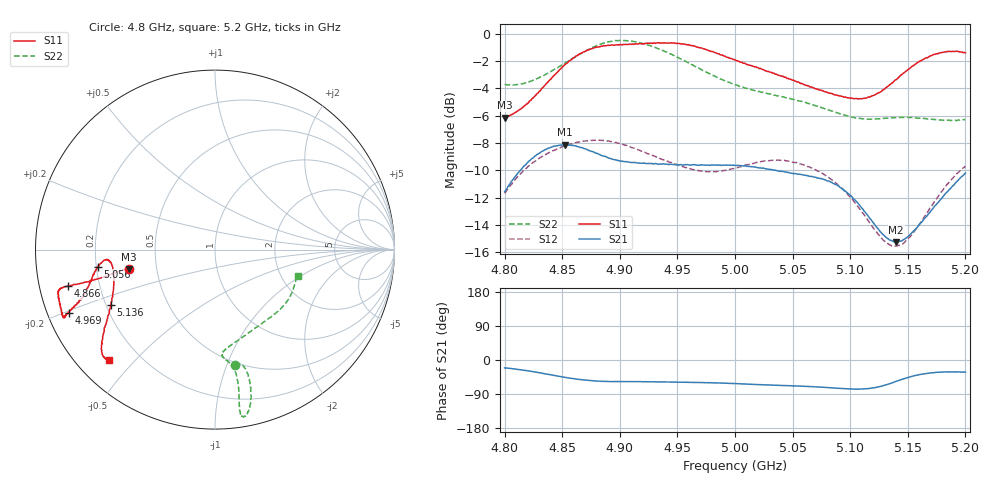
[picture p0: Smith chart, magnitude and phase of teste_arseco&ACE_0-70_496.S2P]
! Network Analyzer HP8722D
! Hewlett-Packard
! Data name: Linha & Wilkinson
! Saver's name: Rodrigo Anjos
! Comments: Teste da utilização de aquisição
! continua pelo VNA HP8722D
! Time and date: 8/5/2025 16:53
!  Frequency  S11  S21  S12  S22
# HZ  S  MA R 50
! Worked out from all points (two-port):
!   401 points, 4.8 GHz to 5.2 GHz, reference 50 ohm
!   highest |S21| = -8.12 dB at 4.852 GHz (marker M1); lowest = -15.2 dB at 5.14 GHz (marker M2)
!   |S21| within 3 dB of the highest: 4.803 GHz to 5.089 GHz (285.8 MHz wide, 5.78 % of centre); 5.189191 GHz to end of sweep
!   lowest |S11| = -6.1 dB at 4.8 GHz (marker M3), VSWR 2.95, Z = 17.2 - j4.92 ohm
!   |S11| at or under -10 dB: nowhere
!   |S22| runs from -6.4 to -0.5 dB; largest |S21 - S12| = 0.62
!   S11 on the Smith chart (normalised r, x): 4.8 GHz: 0.34, -0.10; 4.866 GHz: 0.08, -0.12; 4.969 GHz: 0.06, -0.21; 5.056 GHz: 0.21, -0.07; 5.136 GHz: 0.22, -0.24; 5.2 GHz: 0.09, -0.42
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4.8e9  0.4933 -167.3  0.264 -20.9  0.2604 -142.1  0.6523 -80.1
4.826e9  0.5897 -166.7  0.3558 -31.6  0.3407 -146.2  0.6798 -75.9
4.852e9  0.7683 -165.9  0.3924 -45.5  0.3884 -150.9  0.7783 -75.4
4.866e9  0.8461 -166.0  0.3834 -51.7  0.4023 -153.1  0.8454 -76.2
4.867e9  0.8507 -166.1  0.3832 -52.2  0.4032 -153.2  0.8499 -76.3
4.879e9  0.8929 -165.9  0.3656 -55.3  0.4075 -155.1  0.8999 -77.5
4.898e9  0.9121 -163.2  0.3443 -56.9  0.3975 -157.2  0.9436 -79.8
4.934e9  0.926 -156.6  0.3334 -57.9  0.3515 -155.9  0.879 -81.1
4.969e9  0.8883 -156.7  0.3296 -59.3  0.3148 -147.6  0.7466 -80.2
5e9  0.8028 -159.5  0.3296 -62.3  0.3228 -137.8  0.6504 -81.8
5.032e9  0.721 -165.2  0.3179 -66.3  0.3445 -135.2  0.5993 -85.8
5.056e9  0.6612 -171.7  0.306 -68.9  0.3342 -136.8  0.5666 -85.0
5.067e9  0.6364 -173.3  0.3004 -70.2  0.3223 -137.9  0.5494 -82.7
5.084e9  0.6049 -174.8  0.2858 -73.6  0.2919 -139.5  0.5213 -75.8
5.1e9  0.5807 -171.7  0.2561 -76.3  0.2524 -139.5  0.4978 -66.3
5.115e9  0.5843 -164.5  0.217 -75.5  0.2089 -135.5  0.4865 -55.6
5.134e9  0.6491 -153.1  0.176 -62.7  0.169 -118.3  0.4911 -42.8
5.136e9  0.6583 -151.9  0.175 -60.8  0.1672 -115.8  0.4925 -41.6
5.14e9  0.6791 -150.0  0.173 -56.5  0.1673 -110.3  0.4931 -39.3
5.151e9  0.744 -145.3  0.1824 -45.4  0.1794 -96.5  0.494 -33.6
5.173e9  0.8398 -138.9  0.2331 -33.3  0.2423 -80.8  0.4857 -24.2
5.2e9  0.8513 -134.0  0.3089 -32.2  0.3275 -77.8  0.4846 -17.8
